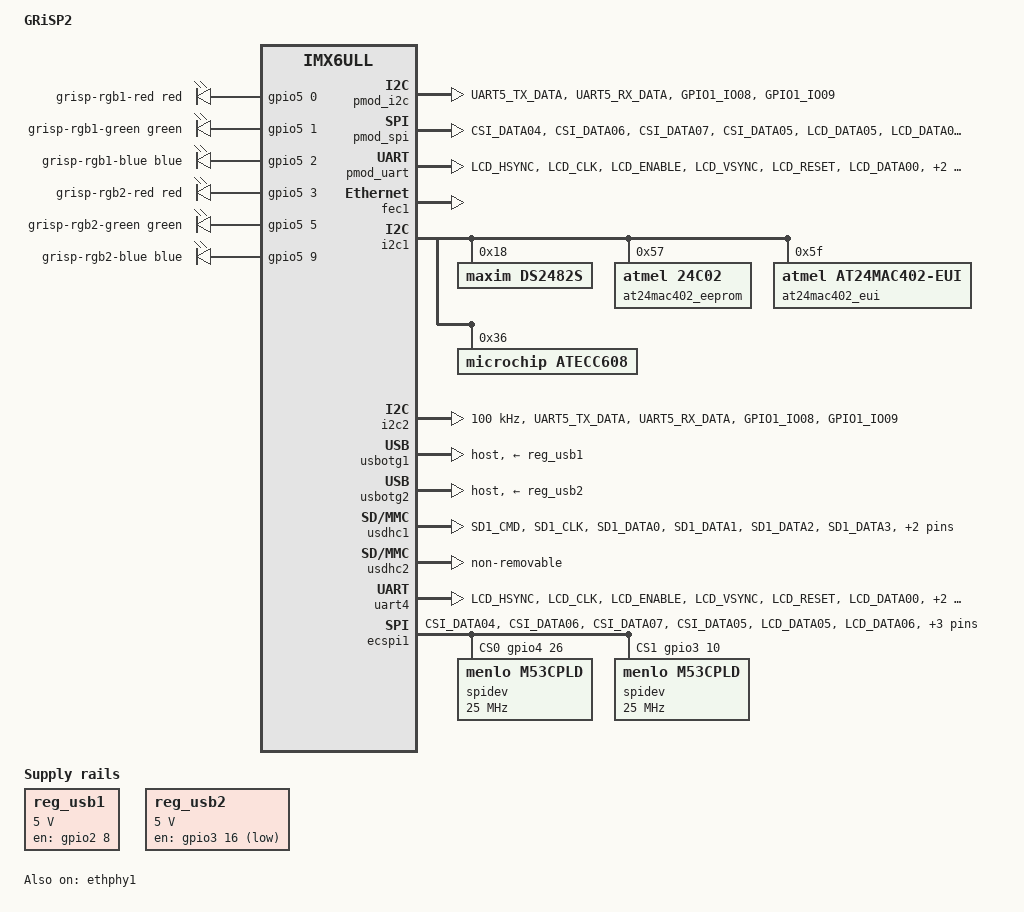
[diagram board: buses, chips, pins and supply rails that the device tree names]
// SPDX-License-Identifier: (GPL-2.0+ OR BSD-2-Clause)
/*
 * Copyright (C) 2020 embedded brains GmbH.
 */

/dts-v1/;
#include "imx6ull.dtsi"
#include "imx6ull-phytec-phycore-som.dtsi"

/ {
	model = "GRiSP2";
	compatible = "embeddedbrains,grisp2", "phytec,imx6ull-pcl063-emmc", "fsl,imx6ull";

	gpio_leds_grisp2: leds {
		pinctrl-names = "default";
		pinctrl-0 = <&pinctrl_gpioleds_grisp2>;
		compatible = "gpio-leds";

		grisp-rgb1-red {
			gpios = <&gpio5 0 GPIO_ACTIVE_HIGH>;
		};
		grisp-rgb1-green {
			gpios = <&gpio5 1 GPIO_ACTIVE_HIGH>;
		};
		grisp-rgb1-blue {
			gpios = <&gpio5 2 GPIO_ACTIVE_HIGH>;
		};
		grisp-rgb2-red {
			gpios = <&gpio5 3 GPIO_ACTIVE_HIGH>;
		};
		grisp-rgb2-green {
			gpios = <&gpio5 5 GPIO_ACTIVE_HIGH>;
		};
		grisp-rgb2-blue {
			gpios = <&gpio5 9 GPIO_ACTIVE_HIGH>;
		};
	};

	reg_usb1: regulator-usb1 {
		compatible = "regulator-fixed";
		pinctrl-names = "default";
		pinctrl-0 = <&pinctrl_usb1_en>;
		gpio = <&gpio2 8 GPIO_ACTIVE_HIGH>;

		regulator-name = "usb1";
		regulator-min-microvolt = <5000000>;
		regulator-max-microvolt = <5000000>;
		enable-active-high;

		status = "okay";
	};

	reg_usb2: regulator-usb2 {
		compatible = "regulator-fixed";
		pinctrl-names = "default";
		pinctrl-0 = <&pinctrl_usb2_en>;
		gpio = <&gpio3 16 GPIO_ACTIVE_HIGH>;

		regulator-name = "usb2";
		regulator-min-microvolt = <5000000>;
		regulator-max-microvolt = <5000000>;

		status = "okay";
	};

	pmod_i2c: pmod-i2c {
		pinctrl-names = "default", "gpio";
		pinctrl-0 = <&pinctrl_i2c2>;
		pinctrl-1 = <&pinctrl_i2c2_gpio>;
		status = "okay";

		/* I2C mode */
		grisp,i2c-alias = "i2c1"; /* use with i2c_bus_register_imx */
		grisp,int-gpios = <&gpio1 8 GPIO_ACTIVE_HIGH>;
		grisp,reset-gpios = <&gpio1 9 GPIO_ACTIVE_HIGH>;

		/* GPIO mode */
		grisp,gpios =
			<&gpio1 8 GPIO_ACTIVE_HIGH>, /* X1403.1 */
			<&gpio1 9 GPIO_ACTIVE_HIGH>, /* X1403.2 */
			<&gpio1 30 GPIO_ACTIVE_HIGH>, /* X1403.3 */
			<&gpio1 31 GPIO_ACTIVE_HIGH>; /* X1403.4 */
	};

	pmod_spi: pmod-spi {
		pinctrl-names = "default", "gpio";
		pinctrl-0 = <&pinctrl_spi0>;
		pinctrl-1 = <&pinctrl_spi0_gpio>;
		status = "okay";

		/* SPI mode */
		grisp,spi-alias = "spi0"; /* use with spi_bus_register_imx */
		grisp,int-gpios = <&gpio4 19 GPIO_ACTIVE_HIGH>;

		/* GPIO mode */
		grisp,gpios =
			<&gpio3 10 GPIO_ACTIVE_HIGH>, /* X1402.1 */
			<&gpio4 27 GPIO_ACTIVE_HIGH>, /* X1402.2 */
			<&gpio4 28 GPIO_ACTIVE_HIGH>, /* X1402.3 */
			<&gpio4 25 GPIO_ACTIVE_HIGH>, /* X1402.4 */
			<&gpio4 19 GPIO_ACTIVE_HIGH>, /* X1402.7 */
			<&gpio4 24 GPIO_ACTIVE_HIGH>, /* X1402.8 */
			<&gpio3 11 GPIO_ACTIVE_HIGH>, /* X1402.9 */
			<&gpio3 12 GPIO_ACTIVE_HIGH>, /* X1402.10 */
			<&gpio4 26 GPIO_ACTIVE_HIGH>; /* X1401.1 */
	};

	pmod_gpio: pmod-gpio {
		pinctrl-names = "default";
		pinctrl-0 = <&pinctrl_gpio_pmod>;
		status = "okay";

		grisp,gpios =
			<&gpio1 1 GPIO_ACTIVE_HIGH>, /* X1404.1 */
			<&gpio1 5 GPIO_ACTIVE_HIGH>, /* X1404.2 */
			<&gpio1 3 GPIO_ACTIVE_HIGH>, /* X1404.3 */
			<&gpio1 4 GPIO_ACTIVE_HIGH>, /* X1404.4 */
			<&gpio1 20 GPIO_ACTIVE_HIGH>, /* X1404.7 */
			<&gpio3 7 GPIO_ACTIVE_HIGH>, /* X1404.8 */
			<&gpio1 22 GPIO_ACTIVE_HIGH>, /* X1404.9 */
			<&gpio1 23 GPIO_ACTIVE_HIGH>; /* X1404.10 */
	};

	pmod_uart: pmod-uart {
		pinctrl-names = "default", "gpio";
		pinctrl-0 = <&pinctrl_uart4>;
		pinctrl-1 = <&pinctrl_uart4_gpio>;
		status = "okay";

		/* UART mode */
		grisp,uartdev = "/dev/ttyS3";

		/* GPIO mode */
		grisp,gpios =
			<&gpio3 2 GPIO_ACTIVE_HIGH>, /* X1405.1 */
			<&gpio3 0 GPIO_ACTIVE_HIGH>, /* X1405.2 */
			<&gpio3 1 GPIO_ACTIVE_HIGH>, /* X1405.3 */
			<&gpio3 3 GPIO_ACTIVE_HIGH>, /* X1405.4 */
			<&gpio3 4 GPIO_ACTIVE_HIGH>, /* X1405.7 */
			<&gpio3 5 GPIO_ACTIVE_HIGH>, /* X1405.8 */
			<&gpio3 6 GPIO_ACTIVE_HIGH>, /* X1405.9 */
			<&gpio1 21 GPIO_ACTIVE_HIGH>; /* X1405.10 */
	};

	pin_gpio: pin-gpio {
		pinctrl-names = "default";
		pinctrl-0 = <&pinctrl_gpio_pins>;
		status = "okay";

		grisp,gpios =
			<&gpio1 24 GPIO_ACTIVE_HIGH>, /* X1300.3 */
			<&gpio1 25 GPIO_ACTIVE_HIGH>, /* X1300.4 */
			<&gpio1 26 GPIO_ACTIVE_HIGH>, /* X1300.5 */
			<&gpio1 27 GPIO_ACTIVE_HIGH>, /* X1300.6 */
			<&gpio4 16 GPIO_ACTIVE_HIGH>, /* X1301.3 */
			<&gpio4 17 GPIO_ACTIVE_HIGH>, /* X1301.4 */
			<&gpio4 18 GPIO_ACTIVE_HIGH>, /* X1301.5 */
			<&gpio4 20 GPIO_ACTIVE_HIGH>, /* X1301.6 */
			<&gpio4 21 GPIO_ACTIVE_HIGH>, /* X1301.7 */
			<&gpio4 22 GPIO_ACTIVE_HIGH>, /* X1301.8 */
			<&gpio4 23 GPIO_ACTIVE_HIGH>, /* X1301.9 */
			<&gpio2 10 GPIO_ACTIVE_HIGH>, /* X1301.10 */
			<&gpio2 11 GPIO_ACTIVE_HIGH>, /* X1301.11 */
			<&gpio2 12 GPIO_ACTIVE_HIGH>, /* X1301.12 */
			<&gpio2 13 GPIO_ACTIVE_HIGH>, /* X1301.13 */
			<&gpio2 14 GPIO_ACTIVE_HIGH>; /* X1301.14 */
	};

	jumper: jumper-keys {
		pinctrl-names = "default";
		pinctrl-0 = <&pinctrl_jumper>;
		status = "okay";

		grisp,gpios =
			<&gpio3 8 GPIO_ACTIVE_HIGH>, /* JUMPER1 */
			<&gpio3 9 GPIO_ACTIVE_HIGH>, /* JUMPER2 */
			<&gpio3 13 GPIO_ACTIVE_HIGH>, /* JUMPER3 */
			<&gpio3 14 GPIO_ACTIVE_HIGH>, /* JUMPER4 */
			<&gpio3 15 GPIO_ACTIVE_HIGH>; /* JUMPER5 */
	};
};

&fec1 {
	status = "okay";
};

&ethphy1 {
	status = "okay";
};

&i2c1 {
	status = "okay";

	ds2482s: onewire_master@18 {
		compatible = "maxim,ds2482s";
		reg = <0x18>;
		status = "okay";
	};
	at24mac402_eeprom: eeprom@57 {
		compatible = "atmel,24c02";
		reg = <0x57>;
		status = "okay";
	};
	at24mac402_eui: eeprom@5f {
		compatible = "atmel,at24mac402-eui";
		reg = <0x5f>;
		status = "okay";
	};
	atecc608: cryptoauth@36 {
		compatible = "microchip,atecc608", "atmel,at24c16";
		reg = <0x36>;
		status = "okay";
	};
};

&i2c2 {
	clock-frequency = <100000>;
	status = "okay";
};

&usbotg1 {
	pinctrl-names = "default";
	dr_mode = "host";
	vbus-supply = <&reg_usb1>;
	/* This removes the warning about not specifying anything for over-current handling */
	disable-over-current;
	status = "okay";
};

&usbotg2 {
	dr_mode = "host";
	vbus-supply = <&reg_usb2>;
	disable-over-current;
	status = "okay";
};

&usdhc1 {
	pinctrl-names = "default", "state_100mhz", "state_200mhz";
	pinctrl-0 = <&pinctrl_usdhc1>;
	pinctrl-1 = <&pinctrl_usdhc1_100mhz>;
	pinctrl-2 = <&pinctrl_usdhc1_200mhz>;
	cd-gpios = <&gpio1 19 GPIO_ACTIVE_HIGH>;
	no-1-8-v;
	keep-power-in-suspend;
	wakeup-source;
	status = "okay";
};

&usdhc2 {
	pinctrl-names = "default";
	non-removable;
	wakeup-source;
	status = "okay";
};

&uart4 {
	status = "okay";
};

&ecspi1 {
	status = "okay";

	cs-gpios = <&gpio4 26 GPIO_ACTIVE_HIGH>,
		   <&gpio3 10 GPIO_ACTIVE_HIGH>,
		   <&gpio3 11 GPIO_ACTIVE_HIGH>,
		   <&gpio3 12 GPIO_ACTIVE_HIGH>;
};

&iomuxc {
	pinctrl_i2c2: i2c2grp {
		fsl,pins = <
			MX6UL_PAD_UART5_TX_DATA__I2C2_SCL	0x4001b830	/* SCL_2; X1400.1; X1403.3 */
			MX6UL_PAD_UART5_RX_DATA__I2C2_SDA	0x4001b830	/* SDA_2; X1400.3; X1403.4 */
			MX6UL_PAD_GPIO1_IO08__GPIO1_IO08	0x3008		/* I2C_2_INT; X1403.1  */
			MX6UL_PAD_GPIO1_IO09__GPIO1_IO09	0x3008		/* I2C_2_RESET; X1403.2  */
		>;
	};

	pinctrl_i2c2_gpio: i2c2gpiogrp {
		fsl,pins = <
			MX6UL_PAD_UART5_TX_DATA__GPIO1_IO30	0x3008		/* SCL_2; X1400.1; X1403.3 */
			MX6UL_PAD_UART5_RX_DATA__GPIO1_IO31	0x3008		/* SDA_2; X1400.3; X1403.4 */
			MX6UL_PAD_GPIO1_IO08__GPIO1_IO08	0x3008		/* I2C_2_INT; X1403.1  */
			MX6UL_PAD_GPIO1_IO09__GPIO1_IO09	0x3008		/* I2C_2_RESET; X1403.2  */
		>;
	};

	pinctrl_usb1_en: usb1engrp {
		fsl,pins = <
			MX6UL_PAD_ENET2_RX_DATA0__GPIO2_IO08	0x08
		>;
	};

	pinctrl_usb2_en: usb2engrp {
		fsl,pins = <
			MX6UL_PAD_LCD_DATA11__GPIO3_IO16	0x08
		>;
	};

	pinctrl_usdhc1: usdhc1grp {
		fsl,pins = <
			MX6UL_PAD_SD1_CMD__USDHC1_CMD		0x17059
			MX6UL_PAD_SD1_CLK__USDHC1_CLK		0x10059
			MX6UL_PAD_SD1_DATA0__USDHC1_DATA0	0x17059
			MX6UL_PAD_SD1_DATA1__USDHC1_DATA1	0x17059
			MX6UL_PAD_SD1_DATA2__USDHC1_DATA2	0x17059
			MX6UL_PAD_SD1_DATA3__USDHC1_DATA3	0x17059
			MX6UL_PAD_UART1_RTS_B__GPIO1_IO19	0x17059
		>;
	};

	pinctrl_usdhc1_100mhz: usdhc1grp100mhz {
		fsl,pins = <
			MX6UL_PAD_SD1_CMD__USDHC1_CMD		0x170b9
			MX6UL_PAD_SD1_CLK__USDHC1_CLK		0x100b9
			MX6UL_PAD_SD1_DATA0__USDHC1_DATA0	0x170b9
			MX6UL_PAD_SD1_DATA1__USDHC1_DATA1	0x170b9
			MX6UL_PAD_SD1_DATA2__USDHC1_DATA2	0x170b9
			MX6UL_PAD_SD1_DATA3__USDHC1_DATA3	0x170b9
			MX6UL_PAD_UART1_RTS_B__GPIO1_IO19	0x17059
		>;
	};

	pinctrl_usdhc1_200mhz: usdhc1grp200mhz {
		fsl,pins = <
			MX6UL_PAD_SD1_CMD__USDHC1_CMD		0x170f9
			MX6UL_PAD_SD1_CLK__USDHC1_CLK		0x100f9
			MX6UL_PAD_SD1_DATA0__USDHC1_DATA0	0x170f9
			MX6UL_PAD_SD1_DATA1__USDHC1_DATA1	0x170f9
			MX6UL_PAD_SD1_DATA2__USDHC1_DATA2	0x170f9
			MX6UL_PAD_SD1_DATA3__USDHC1_DATA3	0x170f9
			MX6UL_PAD_UART1_RTS_B__GPIO1_IO19	0x17059
		>;
	};

	pinctrl_spi0: spi0grp {
		fsl,pins = <
			MX6UL_PAD_CSI_DATA04__ECSPI1_SCLK	0x8	/* SPI_SCK; X1401.4; X1402.4 */
			MX6UL_PAD_CSI_DATA06__ECSPI1_MOSI	0x8	/* SPI_MOSI; X1401.2; X1402.2 */
			MX6UL_PAD_CSI_DATA07__ECSPI1_MISO	0x2000	/* SPI_MISO; X1401.3; X1402.3 */
			MX6UL_PAD_CSI_DATA05__GPIO4_IO26	0x8	/* SPI_SS0 ; X1401.1 */
			MX6UL_PAD_LCD_DATA05__GPIO3_IO10	0x8	/* SPI_SS1 ; X1402.1 */
			MX6UL_PAD_LCD_DATA06__GPIO3_IO11	0x8	/* SPI_SS2 ; X1402.9 */
			MX6UL_PAD_LCD_DATA07__GPIO3_IO12	0x8	/* SPI_SS3 ; X1402.10 */
			MX6UL_PAD_CSI_DATA03__GPIO4_IO24	0x8	/* SPI_RESET ; X1402.8 */
			MX6UL_PAD_CSI_VSYNC__GPIO4_IO19		0x8	/* SPI_INT ; X1402.7 */
		>;
	};

	pinctrl_spi0_gpio: spi0gpiogrp {
		fsl,pins = <
			MX6UL_PAD_CSI_DATA04__GPIO4_IO25	0x3008	/* SPI_SCK; X1401.4; X1402.4 */
			MX6UL_PAD_CSI_DATA06__GPIO4_IO27	0x3008	/* SPI_MOSI; X1401.2; X1402.2 */
			MX6UL_PAD_CSI_DATA07__GPIO4_IO28	0x3008	/* SPI_MISO; X1401.3; X1402.3 */
			MX6UL_PAD_CSI_DATA05__GPIO4_IO26	0x3008	/* SPI_SS0 ; X1401.1 */
			MX6UL_PAD_LCD_DATA05__GPIO3_IO10	0x3008	/* SPI_SS1 ; X1402.1 */
			MX6UL_PAD_LCD_DATA06__GPIO3_IO11	0x3008	/* SPI_SS2 ; X1402.9 */
			MX6UL_PAD_LCD_DATA07__GPIO3_IO12	0x3008	/* SPI_SS3 ; X1402.10 */
			MX6UL_PAD_CSI_DATA03__GPIO4_IO24	0x3008	/* SPI_RESET ; X1402.8 */
			MX6UL_PAD_CSI_VSYNC__GPIO4_IO19		0x3008	/* SPI_INT ; X1402.7 */
		>;
	};

	pinctrl_uart4: uart4grp {
		fsl,pins = <
			MX6UL_PAD_LCD_HSYNC__UART4_DCE_CTS	0x1b008	/* CTS_4; X1405.1  */
			MX6UL_PAD_LCD_CLK__UART4_DCE_TX		0x1b008	/* TXD_4; X1405.2  */
			MX6UL_PAD_LCD_ENABLE__UART4_DCE_RX	0x1b008	/* RXD_4; X1405.3  */
			MX6UL_PAD_LCD_VSYNC__UART4_DCE_RTS	0x1b008	/* RTS_4; X1405.4  */
			MX6UL_PAD_LCD_RESET__GPIO3_IO04		0x3008	/* GPIO3_04; X1405.7  */
			MX6UL_PAD_LCD_DATA00__GPIO3_IO05	0x3008	/* GPIO3_05; X1405.8  */
			MX6UL_PAD_LCD_DATA01__GPIO3_IO06	0x3008	/* GPIO3_06; X1405.9  */
			MX6UL_PAD_UART2_RX_DATA__GPIO1_IO21	0x3008	/* GPIO1_21; X1405.10 */
		>;
	};

	pinctrl_uart4_gpio: uart4gpiogrp {
		fsl,pins = <
			MX6UL_PAD_LCD_HSYNC__GPIO3_IO02		0x3008	/* CTS_4; X1405.1  */
			MX6UL_PAD_LCD_CLK__GPIO3_IO00		0x3008	/* TXD_4; X1405.2  */
			MX6UL_PAD_LCD_ENABLE__GPIO3_IO01	0x3008	/* RXD_4; X1405.3  */
			MX6UL_PAD_LCD_VSYNC__GPIO3_IO03		0x3008	/* RTS_4; X1405.4  */
			MX6UL_PAD_LCD_RESET__GPIO3_IO04		0x3008	/* GPIO3_04; X1405.7  */
			MX6UL_PAD_LCD_DATA00__GPIO3_IO05	0x3008	/* GPIO3_05; X1405.8  */
			MX6UL_PAD_LCD_DATA01__GPIO3_IO06	0x3008	/* GPIO3_06; X1405.9  */
			MX6UL_PAD_UART2_RX_DATA__GPIO1_IO21	0x3008	/* GPIO1_21; X1405.10 */
		>;
	};

	pinctrl_gpioleds_grisp2: gpioledsgrisp2grp {
		fsl,pins = <
			MX6UL_PAD_SNVS_TAMPER0__GPIO5_IO00	0x00088
			MX6UL_PAD_SNVS_TAMPER1__GPIO5_IO01	0x00088
			MX6UL_PAD_SNVS_TAMPER2__GPIO5_IO02	0x00088
			MX6UL_PAD_SNVS_TAMPER3__GPIO5_IO03	0x00088
			MX6UL_PAD_SNVS_TAMPER5__GPIO5_IO05	0x00088
			MX6UL_PAD_SNVS_TAMPER9__GPIO5_IO09	0x00088
		>;
	};

	pinctrl_gpio_pmod: gpiopmodgrp {
		fsl,pins = <
			MX6UL_PAD_GPIO1_IO01__GPIO1_IO01	0x3008 /* DIO1/AN1; X1404.1  */
			MX6UL_PAD_GPIO1_IO05__GPIO1_IO05	0x3008 /* DIO2/AN2; X1404.2  */
			MX6UL_PAD_GPIO1_IO03__GPIO1_IO03	0x3008 /* DIO3/AN3; X1404.3  */
			MX6UL_PAD_GPIO1_IO04__GPIO1_IO04	0x3008 /* DIO4/AN4; X1404.4  */
			MX6UL_PAD_UART2_TX_DATA__GPIO1_IO20	0x3008 /* DIO5; X1404.7  */
			MX6UL_PAD_LCD_DATA02__GPIO3_IO07	0x3008 /* DIO6; X1404.8  */
			MX6UL_PAD_UART2_CTS_B__GPIO1_IO22	0x3008 /* DIO7; X1404.9  */
			MX6UL_PAD_UART2_RTS_B__GPIO1_IO23	0x3008 /* DIO8; X1404.10 */
		>;
	};

	pinctrl_jumper: jumpergrp {
		fsl,pins = <
			MX6UL_PAD_LCD_DATA03__GPIO3_IO08	0x7000 /* JUMPER1 */
			MX6UL_PAD_LCD_DATA04__GPIO3_IO09	0x7000 /* JUMPER2 */
			MX6UL_PAD_LCD_DATA08__GPIO3_IO13	0x7000 /* JUMPER3 */
			MX6UL_PAD_LCD_DATA09__GPIO3_IO14	0x7000 /* JUMPER4 */
			MX6UL_PAD_LCD_DATA10__GPIO3_IO15	0x7000 /* JUMPER5 */
		>;
	};

	pinctrl_gpio_pins: gpiopinsgrp {
		fsl,pins = <
			MX6UL_PAD_UART3_TX_DATA__GPIO1_IO24	0x3008 /* GPIO1_IO24; X1300.3 */
			MX6UL_PAD_UART3_RX_DATA__GPIO1_IO25	0x3008 /* GPIO1_IO25; X1300.4 */
			MX6UL_PAD_UART3_CTS_B__GPIO1_IO26	0x3008 /* GPIO1_IO26; X1300.5 */
			MX6UL_PAD_UART3_RTS_B__GPIO1_IO27	0x3008 /* GPIO1_IO27; X1300.6 */

			MX6UL_PAD_NAND_DQS__GPIO4_IO16		0x3008 /* GPIO4_IO16; X1301.3 */
			MX6UL_PAD_CSI_MCLK__GPIO4_IO17		0x3008 /* GPIO4_IO17; X1301.4 */
			MX6UL_PAD_CSI_PIXCLK__GPIO4_IO18	0x3008 /* GPIO4_IO18; X1301.5 */
			MX6UL_PAD_CSI_HSYNC__GPIO4_IO20		0x3008 /* GPIO4_IO20; X1301.6 */
			MX6UL_PAD_CSI_DATA00__GPIO4_IO21	0x3008 /* GPIO4_IO21; X1301.7 */
			MX6UL_PAD_CSI_DATA01__GPIO4_IO22	0x3008 /* GPIO4_IO22; X1301.8 */
			MX6UL_PAD_CSI_DATA02__GPIO4_IO23	0x3008 /* GPIO4_IO23; X1301.9 */
			MX6UL_PAD_ENET2_RX_EN__GPIO2_IO10	0x3008 /* GPIO2_IO10; X1301.10 */
			MX6UL_PAD_ENET2_TX_DATA0__GPIO2_IO11	0x3008 /* GPIO2_IO11; X1301.11 */
			MX6UL_PAD_ENET2_TX_DATA1__GPIO2_IO12	0x3008 /* GPIO2_IO12; X1301.12 */
			MX6UL_PAD_ENET2_TX_EN__GPIO2_IO13	0x3008 /* GPIO2_IO13; X1301.13 */
			MX6UL_PAD_ENET2_TX_CLK__GPIO2_IO14	0x3008 /* GPIO2_IO14; X1301.14 */
		>;
	};
};

/*
 * Nerves additions
 */
#include <dt-bindings/leds/common.h>

&gpio_leds_grisp2 {
        /* Provide LEDs with colors and functions to be consistent with Linux conventions */
	grisp-rgb1-red {
		function = LED_FUNCTION_INDICATOR;
		function-enumerator = <1>;
		color = <LED_COLOR_ID_RED>;
	};
	grisp-rgb1-green {
		function = LED_FUNCTION_INDICATOR;
		function-enumerator = <1>;
		color = <LED_COLOR_ID_GREEN>;
	};
	grisp-rgb1-blue {
		function = LED_FUNCTION_INDICATOR;
		function-enumerator = <1>;
		color = <LED_COLOR_ID_BLUE>;
	};
	grisp-rgb2-red {
		function = LED_FUNCTION_INDICATOR;
		function-enumerator = <2>;
		color = <LED_COLOR_ID_RED>;
	};
	grisp-rgb2-green {
		function = LED_FUNCTION_INDICATOR;
		function-enumerator = <2>;
		color = <LED_COLOR_ID_GREEN>;
	};
	grisp-rgb2-blue {
		function = LED_FUNCTION_INDICATOR;
		function-enumerator = <2>;
		color = <LED_COLOR_ID_BLUE>;
	};
};

/* Allow GPIOs to be accessible to userland */
&jumper {
	/delete-property/ grisp,gpios;
};
&pmod_gpio {
	/delete-property/ grisp,gpios;
};
&pin_gpio {
	/delete-property/ grisp,gpios;
};
/* Associate pinmux settings for PMOD I/O */
&uart4 {
	pinctrl-names = "default";
	pinctrl-0 = <&pinctrl_uart4>;
	status = "okay";
};
&i2c2 {
	pinctrl-names = "default";
	pinctrl-0 = <&pinctrl_i2c2>;
	status = "okay";
};
&ecspi1 {
	pinctrl-names = "default";
	pinctrl-0 = <&pinctrl_spi0>;
	status = "okay";
	/* Fake SPI devices for /dev/spidev support */
	spidev@0 {
		compatible = "menlo,m53cpld";
		spi-max-frequency = <25000000>;
		reg = <0>;
	};
	spidev@1 {
		compatible = "menlo,m53cpld";
		spi-max-frequency = <25000000>;
		reg = <1>;
	};
};
/ {
	rmem: reserved-memory {
		#address-cells = <1>;
		#size-cells = <1>;
		ranges;

		ramoops: ramoops@8ff00000 {
			compatible = "ramoops";
			/* Barebox uses 0x8fe00000 and up */
			reg = <0x8f000000 0x100000>; /* 1 MB */
			ecc-size = <16>;
			record-size = <0x20000>; /* 128kB */
			console-size = <0x20000>;
			ftrace-size = <0>;
			pmsg-size = <0x20000>;
		};
	};
};
